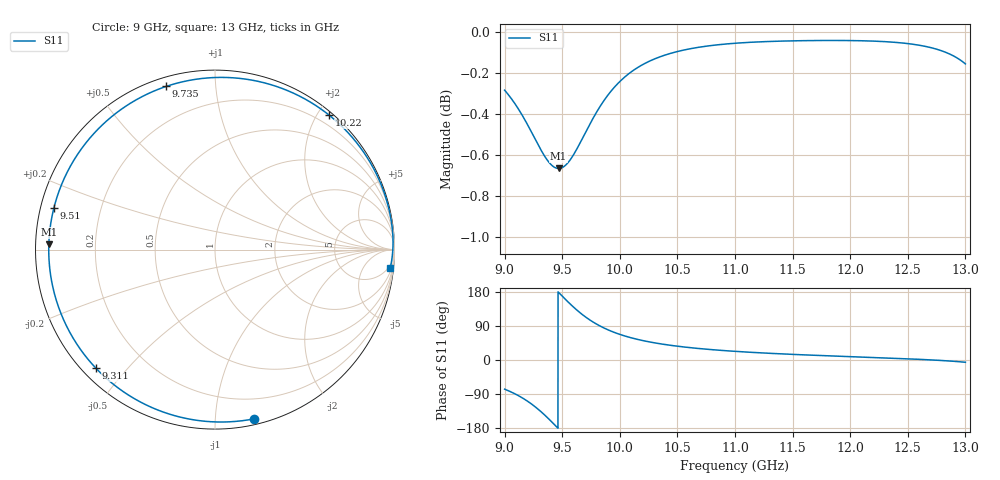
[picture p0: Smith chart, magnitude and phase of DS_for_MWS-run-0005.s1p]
! TOUCHSTONE file generated by CST DESIGN STUDIO
! Date and time: Tue Feb  4 16:22:52 2025
! Project name: C:\Work\MatlabApps\UnitCellOptimizationMatlab\CST\unitcell.cst
! Tree item: Tasks\Sweep1\SPara1\S-Parameters
! Header version: 2024
! Port assignment regex: !\s*Touchstone port\s*([0-9]+)\s*=\s*(CST MWS port|CST DES external port|CST DES block port)\s*(.+)\s* \(\"(.*)\"\)(\s*mode\s*([0-9]+))?.*
! Touchstone port assignment:
! Touchstone port 1 = CST DES external port 1 ("")
# GHz S MA R 50
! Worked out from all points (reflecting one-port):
!   4001 points, 9 GHz to 13 GHz, reference 50 ohm
!   lowest |S11| = -0.7 dB at 9.469 GHz (marker M1), VSWR 26.14, Z = 1.91 + j0.777 ohm
!   phase of S11 starts at -77 deg and turns -289 deg over the sweep
!   S11 on the Smith chart (normalised r, x): 9 GHz: 0.04, -1.26; 9.311 GHz: 0.04, -0.41; 9.51 GHz: 0.04, +0.13; 9.735 GHz: 0.04, +0.74; 10.22 GHz: 0.05, +2.16; 13 GHz: 3, -19
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9  0.9678 -77.0
9.079  0.9615 -87.6
9.178  0.9516 -104.6
9.247  0.9438 -119.2
9.311  0.9364 -135.1
9.352  0.9323 -146.4
9.396  0.9288 -159.3
9.433  0.9269 -170.6
9.469  0.9263 178.2
9.5  0.9268 168.6
9.51  0.9271 165.5
9.562  0.9302 149.9
9.623  0.936 132.9
9.677  0.9422 119.4
9.735  0.949 106.6
9.796  0.9557 95.1
9.867  0.9626 83.8
10  0.9725 67.6
10.105  0.978 58.1
10.225  0.9826 49.7
10.352  0.9861 42.7
10.5  0.989 36.4
10.722  0.9917 29.3
11  0.9935 22.8
11.5  0.9949 14.8
12  0.995 8.9
12.5  0.9934 3.1
13  0.9821 -6.0
